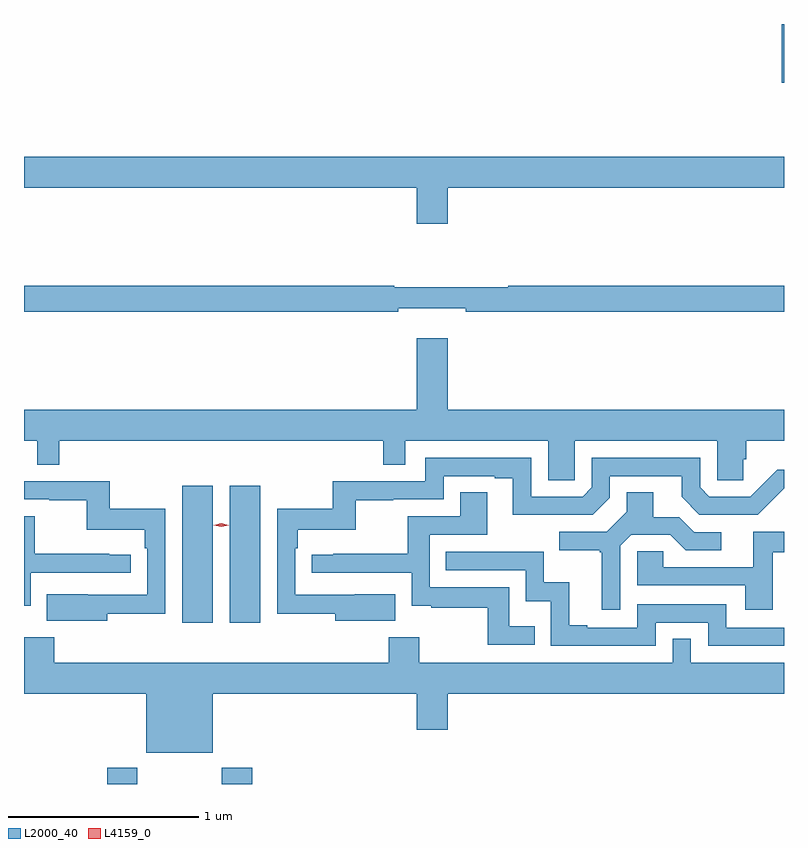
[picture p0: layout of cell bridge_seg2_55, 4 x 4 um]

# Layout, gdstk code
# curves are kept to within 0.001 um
import gdstk
lib = gdstk.Library(unit=1e-6, precision=1e-09)
def R(c, l, rs):  # rectangles x0, y0, x1, y1
    for r in rs: c.add(gdstk.rectangle(r[:2], r[2:], *l))
def P(c, l, *ps):  # polygons
    for p in ps: c.add(gdstk.Polygon(p, *l))
L2000_40 = (2000, 40)
L4159_0 = (4159, 0)

bridge_seg2_55 = lib.new_cell('bridge_seg2_55')
R(bridge_seg2_55, L2000_40, [(906.635,659.15,906.795,659.236), (907.24,659.15,907.4,659.236), (907.031,660,907.192,660.721), (907.28,660,907.441,660.721), (910.187,662.841,910.198,663.15)])
P(bridge_seg2_55, L2000_40, [(908.428,662.288),(910.198,662.288),(910.198,662.452),(906.198,662.452),(906.198,662.288),(908.264,662.288),(908.264,662.1),(908.428,662.1)],
  [(908.168,661.655),(908.524,661.655),(908.524,661.636),(910.198,661.636),(910.198,661.772),(908.746,661.772),(908.746,661.765),(908.146,661.765),(908.146,661.772),(906.198,661.772),(906.198,661.636),(908.168,661.636)],
  [(909.096,660.956),(909.846,660.956),(909.846,660.748),(909.983,660.748),(909.983,660.858),(909.998,660.858),(909.998,660.956),(910.198,660.956),(910.198,661.12),(908.428,661.12),(908.428,661.495),(908.264,661.495),(908.264,661.12),(906.198,661.12),(906.198,660.956),(906.267,660.956),(906.267,660.829),(906.383,660.829),(906.383,660.956),(908.089,660.956),(908.089,660.829),(908.205,660.829),(908.205,660.956),(908.957,660.956),(908.957,660.748),(909.096,660.748)],
  [(908.153,660.148),(907.626,660.147),(907.626,660.392),(907.64,660.392),(907.64,660.488),(907.945,660.488),(907.945,660.643),(908.141,660.643),(908.141,660.648),(908.406,660.648),(908.406,660.771),(908.675,660.771),(908.675,660.759),(908.771,660.759),(908.771,660.566),(909.192,660.567),(909.282,660.657),(909.282,660.771),(909.659,660.771),(909.659,660.661),(909.753,660.567),(910.059,660.567),(910.198,660.706),(910.198,660.805),(910.162,660.805),(910.02,660.663),(909.804,660.663),(909.756,660.711),(909.756,660.867),(909.186,660.867),(909.186,660.711),(909.138,660.663),(908.868,660.663),(908.868,660.867),(908.31,660.867),(908.31,660.744),(907.824,660.744),(907.824,660.598),(907.53,660.598),(907.53,660.046),(907.835,660.046),(907.835,660.008),(908.153,660.008)],
  [(906.637,660.046),(906.942,660.046),(906.942,660.598),(906.649,660.598),(906.649,660.744),(906.198,660.744),(906.198,660.648),(906.331,660.648),(906.331,660.643),(906.528,660.643),(906.528,660.488),(906.833,660.488),(906.833,660.392),(906.846,660.392),(906.846,660.147),(906.533,660.147),(906.533,660.148),(906.319,660.148),(906.319,660.008),(906.637,660.008)],
  [(908.885,659.98),(908.751,659.98),(908.751,660.186),(908.334,660.186),(908.334,660.462),(908.635,660.462),(908.635,660.686),(908.495,660.686),(908.495,660.558),(908.218,660.558),(908.218,660.362),(907.825,660.362),(907.825,660.357),(907.713,660.357),(907.713,660.261),(908.238,660.261),(908.238,660.089),(908.341,660.089),(908.341,660.078),(908.64,660.078),(908.64,659.883),(908.885,659.883)],
  [(909.336,660.405),(909.393,660.462),(909.599,660.462),(909.68,660.381),(909.868,660.381),(909.868,660.474),(909.726,660.474),(909.646,660.554),(909.511,660.554),(909.511,660.686),(909.371,660.686),(909.371,660.584),(909.264,660.477),(909.015,660.477),(909.015,660.38),(909.228,660.38),(909.228,660.369),(909.239,660.369),(909.239,660.066),(909.336,660.066)],
  [(906.234,660.261),(906.76,660.261),(906.76,660.357),(906.647,660.357),(906.647,660.362),(906.254,660.362),(906.254,660.558),(906.198,660.558),(906.198,660.089),(906.234,660.089)],
  [(910.139,660.369),(910.198,660.369),(910.198,660.477),(910.037,660.477),(910.037,660.291),(909.563,660.291),(909.563,660.375),(909.426,660.375),(909.426,660.195),(909.995,660.195),(909.995,660.066),(910.139,660.066)],
  [(909.522,660),(909.798,660),(909.798,659.877),(910.198,659.877),(910.198,659.973),(909.894,659.973),(909.894,660.096),(909.426,660.096),(909.426,659.973),(909.163,659.973),(909.163,659.986),(909.067,659.986),(909.067,660.211),(908.934,660.211),(908.934,660.372),(908.419,660.372),(908.419,660.276),(908.838,660.276),(908.838,660.113),(908.97,660.113),(908.97,659.877),(909.522,659.877)],
  [(907.192,659.624),(908.264,659.624),(908.264,659.436),(908.428,659.436),(908.428,659.624),(910.198,659.624),(910.198,659.788),(909.708,659.788),(909.708,659.915),(909.612,659.915),(909.612,659.788),(908.277,659.788),(908.277,659.923),(908.117,659.923),(908.117,659.788),(906.356,659.788),(906.356,659.923),(906.198,659.923),(906.198,659.624),(906.842,659.624),(906.842,659.315),(907.192,659.315)])
P(bridge_seg2_55, L4159_0, [(907.236,660.503),(907.196,660.513),(907.196,660.513),(907.196,660.513),(907.236,660.523),(907.276,660.513),(907.276,660.513),(907.276,660.513)])

lib.write_gds('bridge_seg2_55.gds')
